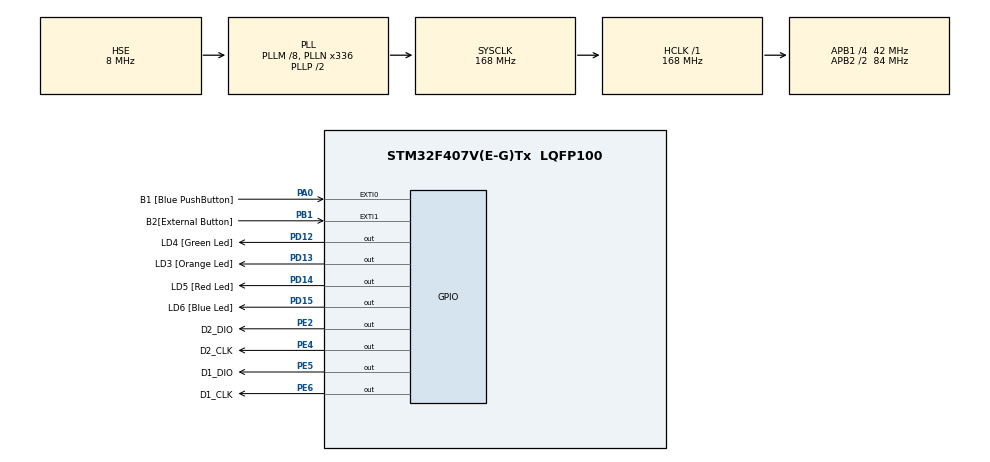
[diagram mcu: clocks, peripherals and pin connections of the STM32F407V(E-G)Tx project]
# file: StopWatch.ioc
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Mcu.Family=STM32F4
Mcu.Name=STM32F407V(E-G)Tx
Mcu.Package=LQFP100
NVIC.EXTI0_IRQn=true\:0\:0\:false\:false\:true\:true\:true\:true
NVIC.EXTI1_IRQn=true\:0\:0\:false\:false\:true\:true\:true\:true
NVIC.PriorityGroup=NVIC_PRIORITYGROUP_0
NVIC.RCC_IRQn=true\:0\:0\:false\:false\:true\:true\:false\:true
NVIC.TIM2_IRQn=true\:0\:0\:false\:false\:true\:true\:true\:true
NVIC.TIM4_IRQn=true\:0\:0\:false\:false\:true\:true\:true\:true
PA0-WKUP.GPIO_Label=B1 [Blue PushButton]
PA0-WKUP.GPIO_ModeDefaultEXTI=GPIO_MODE_IT_RISING
PA0-WKUP.GPIO_PuPd=GPIO_NOPULL
PA0-WKUP.Signal=GPXTI0
PB1.GPIO_Label=B2[External Button]
PB1.GPIO_ModeDefaultEXTI=GPIO_MODE_IT_FALLING
PB1.Signal=GPXTI1
PD12.GPIO_Label=LD4 [Green Led]
PD12.GPIO_ModeDefaultOutputPP=GPIO_MODE_OUTPUT_PP
PD12.GPIO_PuPd=GPIO_NOPULL
PD12.GPIO_Speed=GPIO_SPEED_FREQ_LOW
PD12.Signal=GPIO_Output
PD13.GPIO_Label=LD3 [Orange Led]
PD13.GPIO_PuPd=GPIO_NOPULL
PD13.GPIO_Speed=GPIO_SPEED_FREQ_LOW
PD13.Signal=GPIO_Output
PD14.GPIO_Label=LD5 [Red Led]
PD14.GPIO_PuPd=GPIO_NOPULL
PD14.GPIO_Speed=GPIO_SPEED_FREQ_LOW
PD14.Signal=GPIO_Output
PD15.GPIO_Label=LD6 [Blue Led]
PD15.GPIO_PuPd=GPIO_NOPULL
PD15.GPIO_Speed=GPIO_SPEED_FREQ_LOW
PD15.Signal=GPIO_Output
PE2.GPIO_Label=D2_DIO
PE2.GPIO_ModeDefaultOutputPP=GPIO_MODE_OUTPUT_OD
PE2.GPIO_PuPd=GPIO_NOPULL
PE2.GPIO_Speed=GPIO_SPEED_FREQ_HIGH
PE2.PinState=GPIO_PIN_RESET
PE2.Signal=GPIO_Output
PE4.GPIO_Label=D2_CLK
PE4.GPIO_ModeDefaultOutputPP=GPIO_MODE_OUTPUT_OD
PE4.GPIO_PuPd=GPIO_NOPULL
PE4.GPIO_Speed=GPIO_SPEED_FREQ_HIGH
PE4.Signal=GPIO_Output
PE5.GPIO_Label=D1_DIO
PE5.GPIO_ModeDefaultOutputPP=GPIO_MODE_OUTPUT_OD
PE5.GPIO_PuPd=GPIO_NOPULL
PE5.GPIO_Speed=GPIO_SPEED_FREQ_HIGH
PE5.Signal=GPIO_Output
PE6.GPIO_Label=D1_CLK
PE6.GPIO_ModeDefaultOutputPP=GPIO_MODE_OUTPUT_OD
PE6.GPIO_PuPd=GPIO_NOPULL
PE6.GPIO_Speed=GPIO_SPEED_FREQ_HIGH
PE6.Signal=GPIO_Output
PH0-OSC_IN.Mode=HSE-External-Oscillator
PH0-OSC_IN.Signal=RCC_OSC_IN
PH1-OSC_OUT.Mode=HSE-External-Oscillator
PH1-OSC_OUT.Signal=RCC_OSC_OUT
ProjectManager.HeapSize=0x400
ProjectManager.StackSize=0x800
ProjectManager.TargetToolchain=STM32CubeIDE
RCC.48MHZClocksFreq_Value=48000000
RCC.AHBFreq_Value=168000000
RCC.APB1CLKDivider=RCC_HCLK_DIV4
RCC.APB1Freq_Value=42000000
RCC.APB1TimFreq_Value=84000000
RCC.APB2CLKDivider=RCC_HCLK_DIV2
RCC.APB2Freq_Value=84000000
RCC.APB2TimFreq_Value=168000000
RCC.CortexFreq_Value=168000000
RCC.HCLKFreq_Value=168000000
RCC.HSE_VALUE=8000000
RCC.HSI_VALUE=16000000
RCC.LSE_VALUE=32768
RCC.PLLM=8
RCC.PLLN=336
RCC.PLLQ=7
RCC.PLLSourceVirtual=RCC_PLLSOURCE_HSE
RCC.SYSCLKFreq_VALUE=168000000
RCC.SYSCLKSource=RCC_SYSCLKSOURCE_PLLCLK
RCC.VCOOutputFreq_Value=336000000
TIM2.Period=840053
TIM2.Prescaler=0
TIM4.Period=99
TIM4.Prescaler=8399
VP_TIM2_VS_ClockSourceINT.Mode=Internal
VP_TIM4_VS_ClockSourceINT.Mode=Internal
board=STM32F407G-DISC1

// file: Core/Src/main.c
/* USER CODE BEGIN Header */
/**
  ******************************************************************************
  * @file           : main.c
  * @brief          : Main program body
  ******************************************************************************
  * @attention
  *
  * Copyright (c) 2023 STMicroelectronics.
  * All rights reserved.
  *
  * This software is licensed under terms that can be found in the LICENSE file
  * in the root directory of this software component.
  * If no LICENSE file comes with this software, it is provided AS-IS.
  *
  ******************************************************************************
  */
/* USER CODE END Header */
#include "main.h"

TIM_HandleTypeDef htim2;
TIM_HandleTypeDef htim4;

/* USER CODE BEGIN PV */
const uint8_t tm1637_digits[10] = {0x3f, 0x06, 0x5b, 0x4f, 0x66, 0x6d, 0x7d, 0x07, 0x7f, 0x6f};
const uint8_t tm1637_all_zero[TM1637_SYMBOLS] = {0x3f, 0xBf, 0x3f, 0x3f};
const uint8_t tm1637_dot = 0x80;

tm1637_t D_left, D_right;

uint8_t fRun = 0, fPause = 0, DebounceStart[2] = {0, 0};
int Timer = 0, test = 0;

/* USER CODE END PV */

void SystemClock_Config(void);
static void MX_GPIO_Init(void);
static void MX_TIM2_Init(void);
static void MX_TIM4_Init(void);

/* USER CODE BEGIN 0 */

void nopdelay (uint32_t times) {
  for (uint32_t i = 0; i < times; i++) {
	  asm("nop");
  }
}

void tm1637_start(tm1637_t *tm1637)
{
  HAL_GPIO_WritePin(tm1637->gpio_dio, tm1637->pin_dio, GPIO_PIN_RESET);
  nopdelay(TM1637_DELAY);
}

void tm1637_stop(tm1637_t *tm1637)
{
  HAL_GPIO_WritePin(tm1637->gpio_dio, tm1637->pin_dio, GPIO_PIN_RESET);
  HAL_GPIO_WritePin(tm1637->gpio_clk, tm1637->pin_clk, GPIO_PIN_SET);
  nopdelay(TM1637_DELAY);
  HAL_GPIO_WritePin(tm1637->gpio_dio, tm1637->pin_dio, GPIO_PIN_SET);
  nopdelay(TM1637_DELAY);
}

uint8_t tm1637_write_byte(tm1637_t *tm1637, uint8_t data)
{
  for (uint8_t i = 0; i < 8; i++)
  {
    HAL_GPIO_WritePin(tm1637->gpio_clk, tm1637->pin_clk, GPIO_PIN_RESET);
    if (data & 0x01)
      HAL_GPIO_WritePin(tm1637->gpio_dio, tm1637->pin_dio, GPIO_PIN_SET);
    else
      HAL_GPIO_WritePin(tm1637->gpio_dio, tm1637->pin_dio, GPIO_PIN_RESET);
    HAL_GPIO_WritePin(tm1637->gpio_clk, tm1637->pin_clk, GPIO_PIN_SET);
    nopdelay(TM1637_DELAY);
    data = data >> 1;
  }

  HAL_GPIO_WritePin(tm1637->gpio_clk, tm1637->pin_clk, GPIO_PIN_RESET);
  nopdelay(TM1637_DELAY);
  HAL_GPIO_WritePin(tm1637->gpio_dio, tm1637->pin_dio, GPIO_PIN_SET);
  HAL_GPIO_WritePin(tm1637->gpio_clk, tm1637->pin_clk, GPIO_PIN_SET);
  nopdelay(TM1637_DELAY);
  uint8_t ack = HAL_GPIO_ReadPin(tm1637->gpio_dio, tm1637->pin_dio);
  if (ack == 0)
    HAL_GPIO_WritePin(tm1637->gpio_dio, tm1637->pin_dio, GPIO_PIN_RESET);
  HAL_GPIO_WritePin(tm1637->gpio_clk, tm1637->pin_clk, GPIO_PIN_RESET);
  return ack;
}

void tm1637_brightness(tm1637_t *tm1637, uint8_t bright)    // from 0 to 7
{
  tm1637->brightness = (bright & 0x7) | 0x08;
}

void tm1637_write(tm1637_t *tm1637, const uint8_t *raw, uint8_t length, uint8_t pos)
{
  if (pos > TM1637_SYMBOLS-1)
    return;
  if (length > TM1637_SYMBOLS)
    length = TM1637_SYMBOLS;

  tm1637_start(tm1637);
  tm1637_write_byte(tm1637, TM1637_COMM1);
  tm1637_stop(tm1637);

  tm1637_start(tm1637);
  tm1637_write_byte(tm1637, TM1637_COMM2 + (pos & 0x03));

  for (uint8_t k=0; k < length; k++)
    tm1637_write_byte(tm1637, raw[k]);
  tm1637_stop(tm1637);

  tm1637_start(tm1637);
  tm1637_write_byte(tm1637, TM1637_COMM3 + tm1637->brightness);
  tm1637_stop(tm1637);
}

void tm1637_init(tm1637_t *tm1637, GPIO_TypeDef *gpio_clk, uint16_t pin_clk, GPIO_TypeDef *gpio_dio, uint16_t pin_dio)
{
  tm1637_brightness(tm1637, TM1637_BR_MED);
  tm1637->gpio_clk = gpio_clk;
  tm1637->pin_clk = pin_clk;
  tm1637->gpio_dio = gpio_dio;
  tm1637->pin_dio = pin_dio;
  tm1637_write(tm1637, tm1637_all_zero, TM1637_SYMBOLS, TM1637_STARTPOS);
}

void DiplayUpdate(int data) {
    uint8_t buffer[TM1637_SYMBOLS] = {0};
	int hour, min, sec, dms;

	dms = data % 100;
	sec = (int)((data - dms) / 100);
	hour = (int)(sec / 3600);
	sec = sec % 3600;
	min = (int)(sec / 60);
	sec = sec % 60;

    buffer[0] = tm1637_digits[(int)(sec / 10)];
    buffer[1] = tm1637_digits[sec % 10] | tm1637_dot;
    buffer[2] = tm1637_digits[(int)(dms / 10)];
    buffer[3] = tm1637_digits[dms % 10];
	tm1637_write(&D_right, buffer, TM1637_SYMBOLS, TM1637_STARTPOS);

    buffer[0] = tm1637_digits[(int)(hour / 10)];
    buffer[1] = tm1637_digits[hour % 10] | tm1637_dot;
    buffer[2] = tm1637_digits[(int)(min / 10)];
    buffer[3] = tm1637_digits[min % 10];
	tm1637_write(&D_left, buffer, TM1637_SYMBOLS, TM1637_STARTPOS);
}

void HAL_GPIO_EXTI_Callback(uint16_t GPIO_Pin) {
	if (GPIO_Pin == B1_Pin) {
		HAL_NVIC_DisableIRQ(B1_EXTI_IRQn);
		__HAL_GPIO_EXTI_CLEAR_IT(B1_Pin);
		DebounceStart[0] = 1;
		HAL_TIM_Base_Start_IT(&htim4);
		if (fPause) {
   		    HAL_GPIO_WritePin(LD3_GPIO_Port, LD3_Pin, GPIO_PIN_RESET);
 		    HAL_GPIO_WritePin(LD6_GPIO_Port, LD6_Pin, GPIO_PIN_SET);
			Timer = 0;
			DiplayUpdate(Timer);
   		    HAL_GPIO_WritePin(LD6_GPIO_Port, LD6_Pin, GPIO_PIN_RESET);
		}

	}
	if (GPIO_Pin == B2_Pin) {
		HAL_NVIC_DisableIRQ(B2_EXTI_IRQn);
		__HAL_GPIO_EXTI_CLEAR_IT(B2_Pin);
		DebounceStart[1] = 1;
		HAL_TIM_Base_Start_IT(&htim4);
		if (fRun) {
  		    HAL_TIM_Base_Stop_IT(&htim2);
  		    __HAL_TIM_CLEAR_IT(&htim2, TIM_IT_UPDATE);
  		    NVIC_ClearPendingIRQ(TIM2_IRQn);
			fRun = 0;
  		    fPause = 1;
   		    HAL_GPIO_WritePin(LD4_GPIO_Port, LD4_Pin, GPIO_PIN_RESET);
   		    HAL_GPIO_WritePin(LD3_GPIO_Port, LD3_Pin, GPIO_PIN_SET);
			DiplayUpdate(Timer);
		}
		else {
			fRun = 1;
			fPause = 0;
   		    HAL_GPIO_WritePin(LD4_GPIO_Port, LD4_Pin, GPIO_PIN_SET);
   		    HAL_GPIO_WritePin(LD3_GPIO_Port, LD3_Pin, GPIO_PIN_RESET);
   		    HAL_TIM_Base_Start_IT(&htim2);
		}
	}
}

 void HAL_TIM_PeriodElapsedCallback(TIM_HandleTypeDef* htim) {
	static uint8_t DebounceCounter[2] = {0, 0};
	if (htim->Instance == TIM2) {		// Stopwatch timer
		Timer += 1;						// 10x milliseconds
		DiplayUpdate(Timer);
	}
	if (htim->Instance == TIM4) {		// Debounce timer
		if (DebounceStart[0]) {
			if (HAL_GPIO_ReadPin(B1_GPIO_Port, B1_Pin) == (GPIO_PIN_RESET)) {	    // button not pressed
				DebounceCounter[0] += 1;
				if (DebounceCounter[0] > 4) {
					if (!DebounceStart[1]) {
						HAL_TIM_Base_Stop_IT(&htim4);
					}
					DebounceStart[0] = 0;
					DebounceCounter[0] = 0;
					__HAL_GPIO_EXTI_CLEAR_IT(B1_Pin);
					NVIC_ClearPendingIRQ(B1_EXTI_IRQn);
					HAL_NVIC_EnableIRQ(B1_EXTI_IRQn);
				}
			}
			else {
				DebounceCounter[0] = 0;
			}
		}
		if (DebounceStart[1]) {
			if (HAL_GPIO_ReadPin(B2_GPIO_Port, B2_Pin) == (GPIO_PIN_SET)) {    // button not pressed
				DebounceCounter[1] += 1;
				if (DebounceCounter[1] > 4) {
					if (!DebounceStart[0]) {
						HAL_TIM_Base_Stop_IT(&htim4);
					}
					DebounceStart[1] = 0;
					DebounceCounter[1] = 0;
					__HAL_GPIO_EXTI_CLEAR_IT(B2_Pin);
					NVIC_ClearPendingIRQ(B2_EXTI_IRQn);
					HAL_NVIC_EnableIRQ(B2_EXTI_IRQn);
				}
			}
			else {
				DebounceCounter[1] = 0;
			}
		}
	}
}
/* USER CODE END 0 */

int main(void)
{

  /* MCU Configuration--------------------------------------------------------*/

  /* Reset of all peripherals, Initializes the Flash interface and the Systick. */
  HAL_Init();

  /* Configure the system clock */
  SystemClock_Config();

  /* Initialize all configured peripherals */
  MX_GPIO_Init();
  MX_TIM2_Init();
  MX_TIM4_Init();
  /* USER CODE BEGIN 2 */

  tm1637_init(&D_left, D1_CLK_GPIO_Port, D1_CLK_Pin, D1_DIO_GPIO_Port, D1_DIO_Pin);
  tm1637_init(&D_right, D2_CLK_GPIO_Port, D2_CLK_Pin, D2_DIO_GPIO_Port, D2_DIO_Pin);

  /* USER CODE END 2 */

  /* Infinite loop */
  while (1)
  {

  }
}

void SystemClock_Config(void)
{
  RCC_OscInitTypeDef RCC_OscInitStruct = {0};
  RCC_ClkInitTypeDef RCC_ClkInitStruct = {0};

  /** Configure the main internal regulator output voltage
  */
  __HAL_RCC_PWR_CLK_ENABLE();
  __HAL_PWR_VOLTAGESCALING_CONFIG(PWR_REGULATOR_VOLTAGE_SCALE1);

  /** Initializes the RCC Oscillators according to the specified parameters
  * in the RCC_OscInitTypeDef structure.
  */
  RCC_OscInitStruct.OscillatorType = RCC_OSCILLATORTYPE_HSE;
  RCC_OscInitStruct.HSEState = RCC_HSE_ON;
  RCC_OscInitStruct.PLL.PLLState = RCC_PLL_ON;
  RCC_OscInitStruct.PLL.PLLSource = RCC_PLLSOURCE_HSE;
  RCC_OscInitStruct.PLL.PLLM = 8;
  RCC_OscInitStruct.PLL.PLLN = 336;
  RCC_OscInitStruct.PLL.PLLP = RCC_PLLP_DIV2;
  RCC_OscInitStruct.PLL.PLLQ = 7;
  if (HAL_RCC_OscConfig(&RCC_OscInitStruct) != HAL_OK)
  {
    Error_Handler();
  }

  /** Initializes the CPU, AHB and APB buses clocks
  */
  RCC_ClkInitStruct.ClockType = RCC_CLOCKTYPE_HCLK|RCC_CLOCKTYPE_SYSCLK
                              |RCC_CLOCKTYPE_PCLK1|RCC_CLOCKTYPE_PCLK2;
  RCC_ClkInitStruct.SYSCLKSource = RCC_SYSCLKSOURCE_PLLCLK;
  RCC_ClkInitStruct.AHBCLKDivider = RCC_SYSCLK_DIV1;
  RCC_ClkInitStruct.APB1CLKDivider = RCC_HCLK_DIV4;
  RCC_ClkInitStruct.APB2CLKDivider = RCC_HCLK_DIV2;

  if (HAL_RCC_ClockConfig(&RCC_ClkInitStruct, FLASH_LATENCY_5) != HAL_OK)
  {
    Error_Handler();
  }
}

static void MX_TIM2_Init(void)
{

  TIM_ClockConfigTypeDef sClockSourceConfig = {0};
  TIM_MasterConfigTypeDef sMasterConfig = {0};

  htim2.Instance = TIM2;
  htim2.Init.Prescaler = 0;
  htim2.Init.CounterMode = TIM_COUNTERMODE_UP;
  htim2.Init.Period = 840053;
  htim2.Init.ClockDivision = TIM_CLOCKDIVISION_DIV1;
  htim2.Init.AutoReloadPreload = TIM_AUTORELOAD_PRELOAD_DISABLE;
  if (HAL_TIM_Base_Init(&htim2) != HAL_OK)
  {
    Error_Handler();
  }
  sClockSourceConfig.ClockSource = TIM_CLOCKSOURCE_INTERNAL;
  if (HAL_TIM_ConfigClockSource(&htim2, &sClockSourceConfig) != HAL_OK)
  {
    Error_Handler();
  }
  sMasterConfig.MasterOutputTrigger = TIM_TRGO_RESET;
  sMasterConfig.MasterSlaveMode = TIM_MASTERSLAVEMODE_DISABLE;
  if (HAL_TIMEx_MasterConfigSynchronization(&htim2, &sMasterConfig) != HAL_OK)
  {
    Error_Handler();
  }

}

static void MX_TIM4_Init(void)
{

  TIM_ClockConfigTypeDef sClockSourceConfig = {0};
  TIM_MasterConfigTypeDef sMasterConfig = {0};

  htim4.Instance = TIM4;
  htim4.Init.Prescaler = 8399;
  htim4.Init.CounterMode = TIM_COUNTERMODE_UP;
  htim4.Init.Period = 99;
  htim4.Init.ClockDivision = TIM_CLOCKDIVISION_DIV1;
  htim4.Init.AutoReloadPreload = TIM_AUTORELOAD_PRELOAD_DISABLE;
  if (HAL_TIM_Base_Init(&htim4) != HAL_OK)
  {
    Error_Handler();
  }
  sClockSourceConfig.ClockSource = TIM_CLOCKSOURCE_INTERNAL;
  if (HAL_TIM_ConfigClockSource(&htim4, &sClockSourceConfig) != HAL_OK)
  {
    Error_Handler();
  }
  sMasterConfig.MasterOutputTrigger = TIM_TRGO_RESET;
  sMasterConfig.MasterSlaveMode = TIM_MASTERSLAVEMODE_DISABLE;
  if (HAL_TIMEx_MasterConfigSynchronization(&htim4, &sMasterConfig) != HAL_OK)
  {
    Error_Handler();
  }

}

static void MX_GPIO_Init(void)
{
  GPIO_InitTypeDef GPIO_InitStruct = {0};

  /* GPIO Ports Clock Enable */
  __HAL_RCC_GPIOE_CLK_ENABLE();
  __HAL_RCC_GPIOH_CLK_ENABLE();
  __HAL_RCC_GPIOA_CLK_ENABLE();
  __HAL_RCC_GPIOB_CLK_ENABLE();
  __HAL_RCC_GPIOD_CLK_ENABLE();

  /*Configure GPIO pin Output Level */
  HAL_GPIO_WritePin(GPIOE, D2_DIO_Pin|D2_CLK_Pin|D1_DIO_Pin|D1_CLK_Pin, GPIO_PIN_RESET);

  /*Configure GPIO pin Output Level */
  HAL_GPIO_WritePin(GPIOD, LD4_Pin|LD3_Pin|LD5_Pin|LD6_Pin, GPIO_PIN_RESET);

  /*Configure GPIO pins : D2_DIO_Pin D2_CLK_Pin D1_DIO_Pin D1_CLK_Pin */
  GPIO_InitStruct.Pin = D2_DIO_Pin|D2_CLK_Pin|D1_DIO_Pin|D1_CLK_Pin;
  GPIO_InitStruct.Mode = GPIO_MODE_OUTPUT_OD;
  GPIO_InitStruct.Pull = GPIO_NOPULL;
  GPIO_InitStruct.Speed = GPIO_SPEED_FREQ_HIGH;
  HAL_GPIO_Init(GPIOE, &GPIO_InitStruct);

  /*Configure GPIO pin : B1_Pin */
  GPIO_InitStruct.Pin = B1_Pin;
  GPIO_InitStruct.Mode = GPIO_MODE_IT_RISING;
  GPIO_InitStruct.Pull = GPIO_NOPULL;
  HAL_GPIO_Init(B1_GPIO_Port, &GPIO_InitStruct);

  /*Configure GPIO pin : B2_Pin */
  GPIO_InitStruct.Pin = B2_Pin;
  GPIO_InitStruct.Mode = GPIO_MODE_IT_FALLING;
  GPIO_InitStruct.Pull = GPIO_NOPULL;
  HAL_GPIO_Init(B2_GPIO_Port, &GPIO_InitStruct);

  /*Configure GPIO pins : LD4_Pin LD3_Pin LD5_Pin LD6_Pin */
  GPIO_InitStruct.Pin = LD4_Pin|LD3_Pin|LD5_Pin|LD6_Pin;
  GPIO_InitStruct.Mode = GPIO_MODE_OUTPUT_PP;
  GPIO_InitStruct.Pull = GPIO_NOPULL;
  GPIO_InitStruct.Speed = GPIO_SPEED_FREQ_LOW;
  HAL_GPIO_Init(GPIOD, &GPIO_InitStruct);

  /* EXTI interrupt init*/
  HAL_NVIC_SetPriority(EXTI0_IRQn, 0, 0);
  HAL_NVIC_EnableIRQ(EXTI0_IRQn);

  HAL_NVIC_SetPriority(EXTI1_IRQn, 0, 0);
  HAL_NVIC_EnableIRQ(EXTI1_IRQn);

}

void Error_Handler(void)
{
  /* USER CODE BEGIN Error_Handler_Debug */
  /* User can add his own implementation to report the HAL error return state */
  __disable_irq();
  HAL_GPIO_WritePin(LD5_GPIO_Port, LD5_Pin, GPIO_PIN_SET);

  while (1)
  {
  }
  /* USER CODE END Error_Handler_Debug */
}
